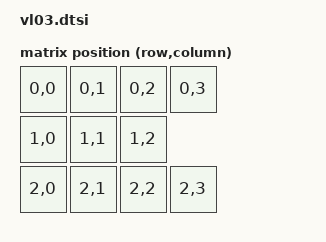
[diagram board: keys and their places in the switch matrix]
#include "vl03-layouts.dtsi"
#include <dt-bindings/zmk/matrix_transform.h>

/ {
    matrix_transform0: matrix_transform0 {
        compatible = "zmk,matrix-transform";
        columns = <4>;
        rows = <3>;
        map = <
            RC(0,0) RC(0,1) RC(0,2) RC(0,3)
            RC(1,0) RC(1,1) RC(1,2)
            RC(2,0) RC(2,1) RC(2,2) RC(2,3)
        >;
    };
};

&physical_layout_vl03 {
    transform = <&matrix_transform0>;
};

// Encoders for all parts of the keyboard.
// If the encoder(s) are not behaving as expected,
// update steps and triggers-per-rotation to match your hardware.
// All pin assignments are done in the part overlays.

/ {
    encoder0: encoder0 {
        compatible = "alps,ec11";
        steps = <40>;
        status = "disabled";
    };

    sensors: sensors {
        compatible = "zmk,keymap-sensors";
        sensors = <&encoder0>;
        triggers-per-rotation = <20>;
    };
};

